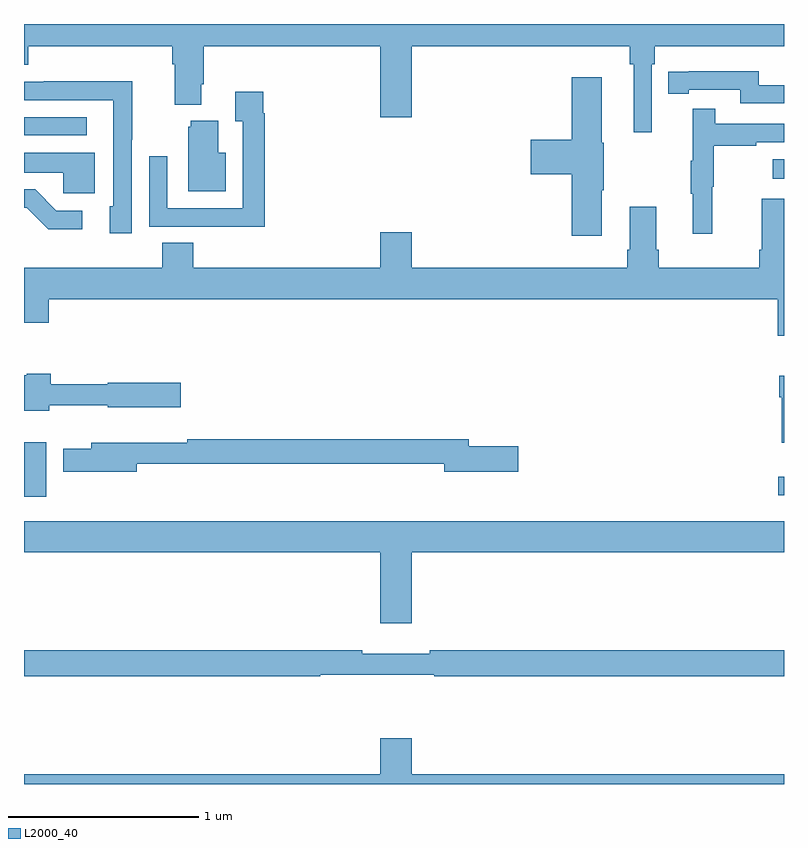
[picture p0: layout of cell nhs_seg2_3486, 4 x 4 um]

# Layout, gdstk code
import gdstk
lib = gdstk.Library(unit=1e-6, precision=1e-09)
def R(c, l, rs):  # rectangles x0, y0, x1, y1
    for r in rs: c.add(gdstk.rectangle(r[:2], r[2:], *l))
def P(c, l, *ps):  # polygons
    for p in ps: c.add(gdstk.Polygon(p, *l))
L2000_40 = (2000, 40)

nhs_seg2_3486 = lib.new_cell('nhs_seg2_3486')
R(nhs_seg2_3486, L2000_40, [(295,597.312,295.117,597.598), (298.971,597.32,299,597.417), (298.941,598.985,299,599.089), (295,599.214,295.33,599.31)])
P(nhs_seg2_3486, L2000_40, [(299,599.8),(295,599.8),(295,599.585),(295.022,599.585),(295.022,599.684),(295.781,599.684),(295.781,599.588),(295.793,599.588),(295.793,599.375),(295.933,599.375),(295.933,599.482),(295.946,599.482),(295.946,599.684),(296.876,599.684),(296.876,599.31),(297.04,599.31),(297.04,599.684),(298.189,599.684),(298.189,599.588),(298.208,599.588),(298.208,599.229),(298.305,599.229),(298.305,599.588),(298.319,599.588),(298.319,599.684),(299,599.684)],
  [(299,599.478),(298.866,599.478),(298.866,599.551),(298.498,599.551),(298.498,599.55),(298.39,599.55),(298.39,599.434),(298.498,599.434),(298.498,599.454),(298.77,599.454),(298.77,599.382),(299,599.382)],
  [(298.042,598.925),(298.05,598.925),(298.05,599.175),(298.042,599.175),(298.042,599.521),(297.884,599.521),(297.884,599.192),(297.666,599.192),(297.666,599.009),(297.884,599.009),(297.884,598.686),(298.042,598.686)],
  [(295.566,599.191),(295.569,599.191),(295.569,599.498),(295.105,599.498),(295.105,599.496),(295,599.496),(295,599.4),(295.469,599.4),(295.469,599.167),(295.47,599.167),(295.47,598.842),(295.451,598.842),(295.451,598.698),(295.566,598.698)],
  [(296.267,599.33),(296.26,599.33),(296.26,599.443),(296.111,599.443),(296.111,599.287),(296.151,599.287),(296.151,598.83),(295.755,598.83),(295.755,599.104),(295.659,599.104),(295.659,598.734),(295.975,598.734),(295.975,598.733),(296.267,598.733)],
  [(298.622,598.944),(298.63,598.944),(298.63,599.158),(298.853,599.158),(298.853,599.178),(299,599.178),(299,599.274),(298.637,599.274),(298.637,599.353),(298.52,599.353),(298.52,599.081),(298.509,599.081),(298.509,598.907),(298.52,598.907),(298.52,598.695),(298.622,598.695)],
  [(296.062,599.122),(296.023,599.122),(296.023,599.29),(295.877,599.29),(295.877,599.259),(295.865,599.259),(295.865,598.919),(296.062,598.919)],
  [(295.372,599.122),(295,599.122),(295,599.018),(295.207,599.018),(295.207,598.91),(295.372,598.91)],
  [(295.306,598.818),(295.171,598.818),(295.06,598.929),(295,598.929),(295,598.833),(295.014,598.833),(295.127,598.721),(295.306,598.721)],
  [(299,598.879),(298.883,598.879),(298.883,598.612),(298.871,598.612),(298.871,598.516),(298.34,598.516),(298.34,598.612),(298.327,598.612),(298.327,598.837),(298.187,598.837),(298.187,598.612),(298.175,598.612),(298.175,598.516),(297.04,598.516),(297.04,598.705),(296.876,598.705),(296.876,598.516),(295.892,598.516),(295.892,598.649),(295.727,598.649),(295.727,598.516),(295,598.516),(295,598.228),(295.13,598.228),(295.13,598.352),(298.967,598.352),(298.967,598.158),(299,598.158)],
  [(295.132,597.794),(295.44,597.794),(295.44,597.782),(295.825,597.782),(295.825,597.912),(295.44,597.912),(295.44,597.904),(295.14,597.904),(295.14,597.958),(295.014,597.958),(295.014,597.952),(295,597.952),(295,597.764),(295.132,597.764)],
  [(299,597.949),(298.976,597.949),(298.976,597.836),(298.988,597.836),(298.988,597.596),(299,597.596)],
  [(295.594,597.486),(297.212,597.486),(297.212,597.443),(297.601,597.443),(297.601,597.578),(297.34,597.578),(297.34,597.614),(295.859,597.614),(295.859,597.596),(295.355,597.596),(295.355,597.565),(295.206,597.565),(295.206,597.443),(295.594,597.443)],
  [(295,597.02),(296.876,597.02),(296.876,596.646),(297.04,596.646),(297.04,597.02),(299,597.02),(299,597.184),(295,597.184)],
  [(296.558,596.376),(297.158,596.376),(297.158,596.368),(299,596.368),(299,596.504),(297.136,596.504),(297.136,596.485),(296.78,596.485),(296.78,596.504),(295,596.504),(295,596.368),(296.558,596.368)],
  [(299,595.852),(297.04,595.852),(297.04,596.041),(296.876,596.041),(296.876,595.852),(295,595.852),(295,595.8),(299,595.8)])

lib.write_gds('nhs_seg2_3486.gds')
